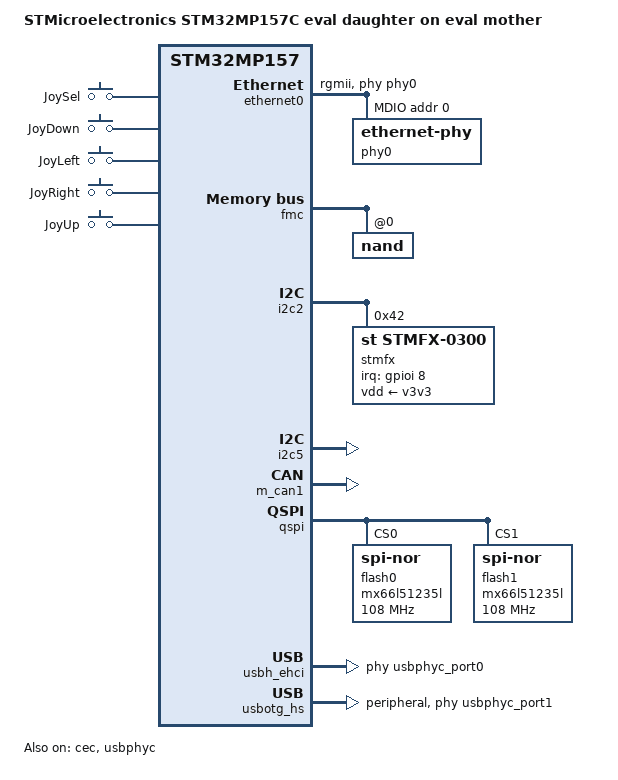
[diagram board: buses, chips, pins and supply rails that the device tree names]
// SPDX-License-Identifier: (GPL-2.0+ OR BSD-3-Clause)
/*
 * Copyright (C) STMicroelectronics 2017 - All Rights Reserved
 * Author: Ludovic Barre <ludovic.barre@st.com> for STMicroelectronics.
 */
/dts-v1/;

#include "stm32mp157c-ed1.dts"
#include <dt-bindings/input/input.h>

/ {
	model = "STMicroelectronics STM32MP157C eval daughter on eval mother";
	compatible = "st,stm32mp157c-ev1", "st,stm32mp157c-ed1", "st,stm32mp157";

	chosen {
		stdout-path = "serial0:115200n8";
	};

	aliases {
		serial1 = &usart3;
		ethernet0 = &ethernet0;
	};

	joystick {
		compatible = "gpio-keys";
		#size-cells = <0>;
		pinctrl-0 = <&joystick_pins>;
		pinctrl-names = "default";
		button-0 {
			label = "JoySel";
			linux,code = <KEY_ENTER>;
			interrupt-parent = <&stmfx_pinctrl>;
			interrupts = <0 IRQ_TYPE_EDGE_RISING>;
		};
		button-1 {
			label = "JoyDown";
			linux,code = <KEY_DOWN>;
			interrupt-parent = <&stmfx_pinctrl>;
			interrupts = <1 IRQ_TYPE_EDGE_RISING>;
		};
		button-2 {
			label = "JoyLeft";
			linux,code = <KEY_LEFT>;
			interrupt-parent = <&stmfx_pinctrl>;
			interrupts = <2 IRQ_TYPE_EDGE_RISING>;
		};
		button-3 {
			label = "JoyRight";
			linux,code = <KEY_RIGHT>;
			interrupt-parent = <&stmfx_pinctrl>;
			interrupts = <3 IRQ_TYPE_EDGE_RISING>;
		};
		button-4 {
			label = "JoyUp";
			linux,code = <KEY_UP>;
			interrupt-parent = <&stmfx_pinctrl>;
			interrupts = <4 IRQ_TYPE_EDGE_RISING>;
		};
	};
};

&ethernet0 {
	status = "okay";
	pinctrl-0 = <&ethernet0_rgmii_pins_a>;
	pinctrl-1 = <&ethernet0_rgmii_pins_sleep_a>;
	pinctrl-names = "default", "sleep";
	phy-mode = "rgmii";
	max-speed = <1000>;
	phy-handle = <&phy0>;

	mdio0 {
		#address-cells = <1>;
		#size-cells = <0>;
		compatible = "snps,dwmac-mdio";
		phy0: ethernet-phy@0 {
			reg = <0>;
		};
	};
};

&cec {
	pinctrl-names = "default";
	pinctrl-0 = <&cec_pins_a>;
	status = "okay";
};

&fmc {
	pinctrl-names = "default", "sleep";
	pinctrl-0 = <&fmc_pins_a>;
	pinctrl-1 = <&fmc_sleep_pins_a>;
	status = "okay";
	#address-cells = <1>;
	#size-cells = <0>;

	nand: nand@0 {
		reg = <0>;
		nand-on-flash-bbt;
		#address-cells = <1>;
		#size-cells = <1>;
	};
};

&i2c2 {
	pinctrl-names = "default", "sleep";
	pinctrl-0 = <&i2c2_pins_a>;
	pinctrl-1 = <&i2c2_pins_sleep_a>;
	i2c-scl-rising-time-ns = <185>;
	i2c-scl-falling-time-ns = <20>;
	status = "okay";
	/delete-property/dmas;
	/delete-property/dma-names;

	stmfx: stmfx@42 {
		compatible = "st,stmfx-0300";
		reg = <0x42>;
		interrupts = <8 IRQ_TYPE_EDGE_RISING>;
		interrupt-parent = <&gpioi>;
		vdd-supply = <&v3v3>;

		stmfx_pinctrl: stmfx-pin-controller {
			compatible = "st,stmfx-0300-pinctrl";
			gpio-controller;
			#gpio-cells = <2>;
			interrupt-controller;
			#interrupt-cells = <2>;
			gpio-ranges = <&stmfx_pinctrl 0 0 24>;

			joystick_pins: joystick {
				pins = "gpio0", "gpio1", "gpio2", "gpio3", "gpio4";
				drive-push-pull;
				bias-pull-down;
			};
		};
	};
};

&i2c5 {
	pinctrl-names = "default", "sleep";
	pinctrl-0 = <&i2c5_pins_a>;
	pinctrl-1 = <&i2c5_pins_sleep_a>;
	i2c-scl-rising-time-ns = <185>;
	i2c-scl-falling-time-ns = <20>;
	status = "okay";
	/delete-property/dmas;
	/delete-property/dma-names;
};

&m_can1 {
	pinctrl-names = "default", "sleep";
	pinctrl-0 = <&m_can1_pins_a>;
	pinctrl-1 = <&m_can1_sleep_pins_a>;
	status = "okay";
};

&qspi {
	pinctrl-names = "default", "sleep";
	pinctrl-0 = <&qspi_clk_pins_a &qspi_bk1_pins_a &qspi_bk2_pins_a>;
	pinctrl-1 = <&qspi_clk_sleep_pins_a &qspi_bk1_sleep_pins_a &qspi_bk2_sleep_pins_a>;
	reg = <0x58003000 0x1000>, <0x70000000 0x4000000>;
	#address-cells = <1>;
	#size-cells = <0>;
	status = "okay";

	flash0: mx66l51235l@0 {
		compatible = "jedec,spi-nor";
		reg = <0>;
		spi-rx-bus-width = <4>;
		spi-max-frequency = <108000000>;
		#address-cells = <1>;
		#size-cells = <1>;
	};

	flash1: mx66l51235l@1 {
		compatible = "jedec,spi-nor";
		reg = <1>;
		spi-rx-bus-width = <4>;
		spi-max-frequency = <108000000>;
		#address-cells = <1>;
		#size-cells = <1>;
	};
};

&spi1 {
	pinctrl-names = "default";
	pinctrl-0 = <&spi1_pins_a>;
	status = "disabled";
};

&timers2 {
	status = "disabled";
	/* spare dmas for other usage (un-delete to enable pwm capture) */
	/delete-property/dmas;
	/delete-property/dma-names;
	pwm {
		pinctrl-0 = <&pwm2_pins_a>;
		pinctrl-1 = <&pwm2_sleep_pins_a>;
		pinctrl-names = "default", "sleep";
		status = "okay";
	};
	timer@1 {
		status = "okay";
	};
};

&timers8 {
	status = "disabled";
	/delete-property/dmas;
	/delete-property/dma-names;
	pwm {
		pinctrl-0 = <&pwm8_pins_a>;
		pinctrl-1 = <&pwm8_sleep_pins_a>;
		pinctrl-names = "default", "sleep";
		status = "okay";
	};
	timer@7 {
		status = "okay";
	};
};

&timers12 {
	status = "disabled";
	/delete-property/dmas;
	/delete-property/dma-names;
	pwm {
		pinctrl-0 = <&pwm12_pins_a>;
		pinctrl-1 = <&pwm12_sleep_pins_a>;
		pinctrl-names = "default", "sleep";
		status = "okay";
	};
	timer@11 {
		status = "okay";
	};
};

&usart3 {
	pinctrl-names = "default", "sleep", "idle";
	pinctrl-0 = <&usart3_pins_a>;
	pinctrl-1 = <&usart3_sleep_pins_a>;
	pinctrl-2 = <&usart3_idle_pins_a>;
	status = "disabled";
};

&usbh_ehci {
	phys = <&usbphyc_port0>;
	phy-names = "usb";
	status = "okay";
};

&usbotg_hs {
	dr_mode = "peripheral";
	phys = <&usbphyc_port1 0>;
	phy-names = "usb2-phy";
	status = "okay";
};

&usbphyc {
	status = "okay";
};
